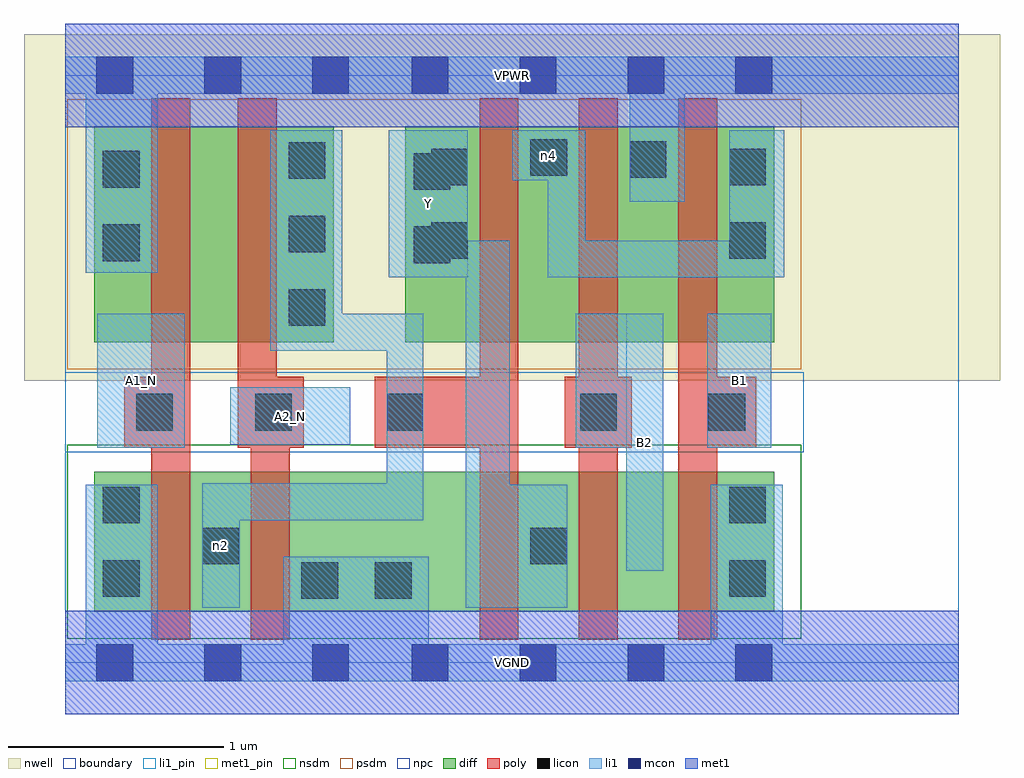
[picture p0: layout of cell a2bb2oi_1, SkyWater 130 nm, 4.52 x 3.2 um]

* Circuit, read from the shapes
.subckt a2bb2oi_1 A1_N A2_N B1 B2 VGND VPWR Y n2 n4
XM1 n2 A1_N VGND VSUBS sky130_fd_pr__nfet_01v8 w=0.65 l=0.18
XM2 VGND A2_N n2 VSUBS sky130_fd_pr__nfet_01v8 w=0.65 l=0.18
XM3 Y n2 VGND VSUBS sky130_fd_pr__nfet_01v8 w=0.65 l=0.18
XM4 n1 B2 Y VSUBS sky130_fd_pr__nfet_01v8 w=0.65 l=0.18
XM5 VGND B1 n1 VSUBS sky130_fd_pr__nfet_01v8 w=0.65 l=0.18
XM6 n3 A1_N VPWR n5 sky130_fd_pr__pfet_01v8 w=1 l=0.18
XM7 n2 A2_N n3 n5 sky130_fd_pr__pfet_01v8 w=1 l=0.18
XM8 n4 n2 Y n5 sky130_fd_pr__pfet_01v8 w=1 l=0.18
XM9 VPWR B2 n4 n5 sky130_fd_pr__pfet_01v8 w=1 l=0.18
XM10 n4 B1 VPWR n5 sky130_fd_pr__pfet_01v8 w=1 l=0.18
.ends

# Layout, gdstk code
import gdstk
lib = gdstk.Library(unit=1e-6, precision=1e-09)
def R(c, l, rs):  # rectangles x0, y0, x1, y1
    for r in rs: c.add(gdstk.rectangle(r[:2], r[2:], *l))
def A(c, l, x, y, w, h, nx, ny, dx, dy):  # array of equal rectangles
    R(c, l, [(x+i*dx, y+j*dy, x+i*dx+w, y+j*dy+h) for i in range(nx) for j in range(ny)])
nwell = (64, 20)
diff = (65, 20)
poly = (66, 20)
licon = (66, 44)
li1_pin = (67, 16)
li1 = (67, 20)
mcon = (67, 44)
met1_pin = (68, 16)
met1 = (68, 20)
nsdm = (93, 44)
psdm = (94, 20)
npc = (95, 20)
boundary = (235, 4)

a2bb2oi_1 = lib.new_cell('a2bb2oi_1')
R(a2bb2oi_1, nwell, [(-0.19,1.305,4.33,2.91), (0,1.305,4.14,2.91)])
R(a2bb2oi_1, diff, [(0.135,0.235,3.285,0.885), (0.135,1.485,1.245,2.485), (1.575,1.485,3.285,2.485)])
A(a2bb2oi_1, poly, 1.92, 0.105, 0.18, 2.51, 3, 1, 0.46, 0)
R(a2bb2oi_1, poly, [(0.4,0.105,0.58,2.615), (0.86,0.105,1.04,1.325), (0.275,0.995,0.58,1.325), (0.8,0.995,1.105,1.325), (0.8,0.995,0.98,2.615), (1.435,0.995,2.1,1.325), (2.315,0.995,2.625,1.325), (2.84,0.995,3.2,1.325)])
A(a2bb2oi_1, licon, 1.035, 1.56, 0.17, 0.17, 1, 3, 0, 0.34)
R(a2bb2oi_1, licon, [(1.095,0.295,1.265,0.465), (1.435,0.295,1.605,0.465), (0.175,0.305,0.345,0.475), (3.075,0.305,3.245,0.475), (0.635,0.455,0.805,0.625), (2.155,0.455,2.325,0.625), (0.175,0.645,0.345,0.815), (3.075,0.645,3.245,0.815), (0.33,1.075,0.5,1.245), (0.88,1.075,1.05,1.245), (1.49,1.075,1.66,1.245), (2.385,1.075,2.555,1.245), (2.98,1.075,3.15,1.245), (1.615,1.85,1.785,2.02), (0.175,1.86,0.345,2.03), (1.695,1.87,1.865,2.04), (3.075,1.87,3.245,2.04), (1.615,2.19,1.785,2.36), (0.175,2.2,0.345,2.37), (1.695,2.21,1.865,2.38), (3.075,2.21,3.245,2.38), (2.615,2.245,2.785,2.415), (2.155,2.255,2.325,2.425)])
R(a2bb2oi_1, li1_pin, [(2.6,0.425,2.77,1.615), (0.15,0.995,0.555,1.615), (2.975,0.995,3.27,1.615), (0.765,1.01,1.32,1.275), (1.5,1.785,1.865,2.465)])
R(a2bb2oi_1, li1, [(0,-0.085,4.14,0.085), (0.095,-0.085,0.43,0.825), (1.01,-0.085,1.685,0.49), (2.99,-0.085,3.325,0.825), (0.635,0.255,0.81,0.83), (1.855,0.255,2.06,1.955), (1.855,0.255,2.325,0.825), (2.6,0.425,2.77,1.615), (0.635,0.66,1.66,0.83), (1.49,0.66,1.66,1.615), (0.15,0.995,0.555,1.615), (2.365,0.995,2.77,1.615), (2.975,0.995,3.27,1.615), (0.765,1.01,1.32,1.275), (0.95,1.445,1.285,2.465), (0.95,1.445,1.66,1.615), (1.5,1.785,1.865,2.465), (2.235,1.785,3.33,1.955), (2.235,1.785,2.41,2.465), (3.075,1.785,3.33,2.465), (0.095,1.805,0.43,2.805), (2.615,2.135,2.87,2.805), (2.07,2.235,2.41,2.465), (0,2.635,4.14,2.805)])
A(a2bb2oi_1, mcon, 0.145, -0.085, 0.17, 0.17, 3, 2, 0.5, 2.72)
A(a2bb2oi_1, mcon, 1.605, -0.085, 0.17, 0.17, 4, 2, 0.5, 2.72)
R(a2bb2oi_1, met1_pin, [(0,-0.24,4.14,0.24), (0,2.48,4.14,2.96)])
R(a2bb2oi_1, met1, [(0,-0.24,4.14,0.24), (0,2.48,4.14,2.96)])
R(a2bb2oi_1, nsdm, [(0.01,0.11,3.41,1.01)])
R(a2bb2oi_1, psdm, [(0.01,1.36,3.41,2.61)])
R(a2bb2oi_1, npc, [(0,0.975,3.42,1.345)])
R(a2bb2oi_1, boundary, [(0,0,4.14,2.72)])
a2bb2oi_1.add(gdstk.Label('A1_N', (0.352,1.305), layer=67, texttype=5))
a2bb2oi_1.add(gdstk.Label('A2_N', (1.042,1.142), layer=67, texttype=5))
a2bb2oi_1.add(gdstk.Label('B1', (3.122,1.305), layer=67, texttype=5))
a2bb2oi_1.add(gdstk.Label('B2', (2.685,1.02), layer=67, texttype=5))
a2bb2oi_1.add(gdstk.Label('Y', (1.682,2.125), layer=67, texttype=5))
a2bb2oi_1.add(gdstk.Label('n2', (0.722,0.542), layer=67, texttype=5))
a2bb2oi_1.add(gdstk.Label('n4', (2.24,2.35), layer=67, texttype=5))
a2bb2oi_1.add(gdstk.Label('VPWR', (2.07,2.72), layer=68, texttype=5))
a2bb2oi_1.add(gdstk.Label('VGND', (2.07,0), layer=68, texttype=5))
a2bb2oi_1.add(gdstk.Label('A1_N', (0.352,1.305), layer=67, texttype=16))
a2bb2oi_1.add(gdstk.Label('A2_N', (1.042,1.142), layer=67, texttype=16))
a2bb2oi_1.add(gdstk.Label('B1', (3.122,1.305), layer=67, texttype=16))
a2bb2oi_1.add(gdstk.Label('B2', (2.685,1.02), layer=67, texttype=16))
a2bb2oi_1.add(gdstk.Label('Y', (1.682,2.125), layer=67, texttype=16))
a2bb2oi_1.add(gdstk.Label('VPWR', (2.07,2.72), layer=68, texttype=16))
a2bb2oi_1.add(gdstk.Label('VGND', (2.07,0), layer=68, texttype=16))

lib.write_gds('a2bb2oi_1.gds')
